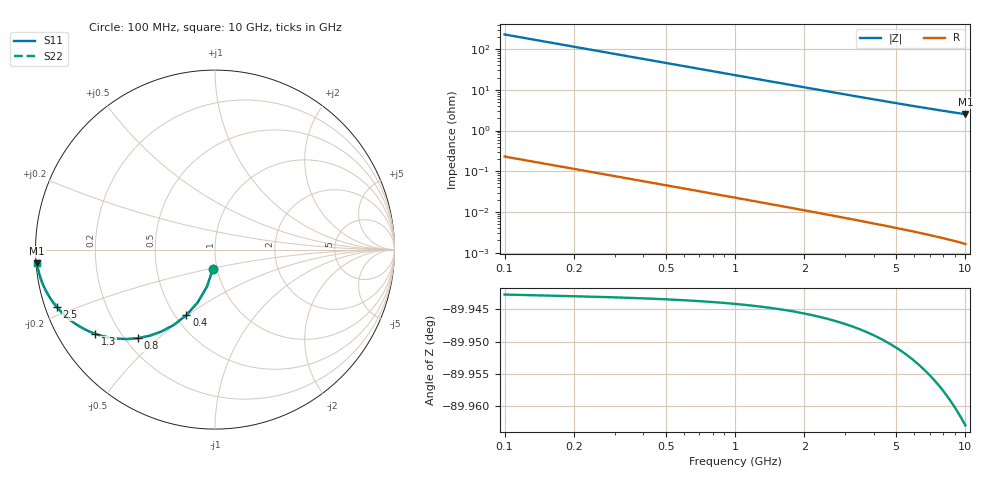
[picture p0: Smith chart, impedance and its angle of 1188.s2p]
# Hz S RI R 50.00
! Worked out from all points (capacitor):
!   100 points, 100 MHz to 10 GHz, reference 50 ohm
!   read as one part in shunt: C = 6.93 pF near 100 MHz
!   lowest |Z| = 2.53 ohm at 10 GHz (marker M1)
!   S11 on the Smith chart (normalised r, x): 100 MHz: 0.95, -0.21; 400 MHz: 0.57, -0.49; 800 MHz: 0.25, -0.43; 1.3 GHz: 0.11, -0.31; 2.5 GHz: 0.03, -0.18; 10 GHz: 0.00, -0.04
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1e8  -0.0118 -0.1074  0.9882 -0.1076  0.9882 -0.1076  -0.0118 -0.1074
2e8  -0.0454 -0.2074  0.9546 -0.2079  0.9546 -0.2079  -0.0454 -0.2074
3e8  -0.0965 -0.2944  0.9035 -0.2951  0.9035 -0.2951  -0.0965 -0.2944
4e8  -0.1594 -0.3651  0.8405 -0.366  0.8405 -0.366  -0.1594 -0.3651
5e8  -0.2284 -0.4188  0.7715 -0.4199  0.7715 -0.4199  -0.2284 -0.4188
6e8  -0.2988 -0.4566  0.7011 -0.4579  0.7011 -0.4579  -0.2988 -0.4566
7e8  -0.367 -0.4807  0.6329 -0.4822  0.6329 -0.4822  -0.367 -0.4807
8e8  -0.4308 -0.4938  0.5691 -0.4955  0.5691 -0.4955  -0.4308 -0.4938
1e9  -0.5417 -0.4967  0.4582 -0.4988  0.4582 -0.4988  -0.5417 -0.4967
1.1e9  -0.5884 -0.4904  0.4115 -0.4928  0.4115 -0.4928  -0.5884 -0.4904
1.3e9  -0.6662 -0.4697  0.3338 -0.4724  0.3338 -0.4724  -0.6662 -0.4697
1.5e9  -0.7264 -0.4437  0.2735 -0.4469  0.2735 -0.4469  -0.7264 -0.4437
1.8e9  -0.7926 -0.403  0.2074 -0.4069  0.2074 -0.4069  -0.7926 -0.403
2.1e9  -0.8386 -0.3651  0.1613 -0.3696  0.1613 -0.3696  -0.8386 -0.3651
2.5e9  -0.8804 -0.3212  0.1195 -0.3266  0.1195 -0.3266  -0.8804 -0.3212
2.9e9  -0.9083 -0.2849  0.0916 -0.2912  0.0916 -0.2912  -0.9083 -0.2849
3.4e9  -0.9315 -0.2482  0.0684 -0.2556  0.0684 -0.2556  -0.9315 -0.2482
4.2e9  -0.9541 -0.2041  0.0458 -0.2133  0.0458 -0.2133  -0.9541 -0.2041
5.1e9  -0.9684 -0.1685  0.0314 -0.1798  0.0314 -0.1798  -0.9684 -0.1685
6.7e9  -0.9816 -0.1262  0.0183 -0.1411  0.0183 -0.1411  -0.9816 -0.1262
8.4e9  -0.9883 -0.0969  0.0115 -0.116  0.0115 -0.116  -0.9883 -0.0969
1e10  -0.9918 -0.0773  0.00788 -0.1003  0.00788 -0.1003  -0.9918 -0.0773
